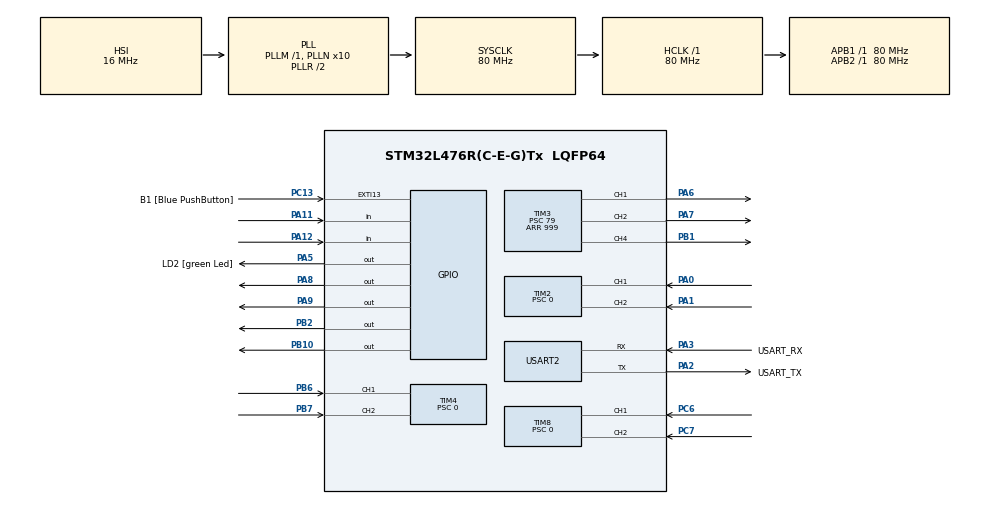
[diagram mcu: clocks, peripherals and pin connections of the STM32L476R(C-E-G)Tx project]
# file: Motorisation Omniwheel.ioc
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Mcu.Family=STM32L4
Mcu.Name=STM32L476R(C-E-G)Tx
Mcu.Package=LQFP64
NVIC.PriorityGroup=NVIC_PRIORITYGROUP_4
NVIC.TIM5_IRQn=true\:0\:0\:false\:false\:true\:true\:true\:true
PA0.Signal=S_TIM2_CH1
PA1.Signal=S_TIM2_CH2
PA11.Signal=GPIO_Input
PA12.Signal=GPIO_Input
PA13\ (JTMS-SWDIO).GPIO_Label=TMS
PA13\ (JTMS-SWDIO).Mode=Serial_Wire
PA13\ (JTMS-SWDIO).Signal=SYS_JTMS-SWDIO
PA14\ (JTCK-SWCLK).GPIO_Label=TCK
PA14\ (JTCK-SWCLK).Mode=Serial_Wire
PA14\ (JTCK-SWCLK).Signal=SYS_JTCK-SWCLK
PA2.GPIO_Label=USART_TX
PA2.GPIO_Mode=GPIO_MODE_AF_PP
PA2.GPIO_PuPd=GPIO_NOPULL
PA2.GPIO_Speed=GPIO_SPEED_FREQ_VERY_HIGH
PA2.Mode=Asynchronous
PA2.Signal=USART2_TX
PA3.GPIO_Label=USART_RX
PA3.GPIO_Mode=GPIO_MODE_AF_PP
PA3.GPIO_PuPd=GPIO_NOPULL
PA3.GPIO_Speed=GPIO_SPEED_FREQ_VERY_HIGH
PA3.Mode=Asynchronous
PA3.Signal=USART2_RX
PA5.GPIO_Label=LD2 [green Led]
PA5.GPIO_ModeDefaultOutputPP=GPIO_MODE_OUTPUT_PP
PA5.GPIO_PuPd=GPIO_NOPULL
PA5.GPIO_Speed=GPIO_SPEED_FREQ_LOW
PA5.Signal=GPIO_Output
PA6.Signal=S_TIM3_CH1
PA7.Signal=S_TIM3_CH2
PA8.Signal=GPIO_Output
PA9.Signal=GPIO_Output
PB1.Signal=S_TIM3_CH4
PB10.Signal=GPIO_Output
PB2.Signal=GPIO_Output
PB3\ (JTDO-TRACESWO).GPIO_Label=SWO
PB3\ (JTDO-TRACESWO).Signal=SYS_JTDO-SWO
PB6.Signal=S_TIM4_CH1
PB7.Signal=S_TIM4_CH2
PC13.GPIO_Label=B1 [Blue PushButton]
PC13.GPIO_ModeDefaultEXTI=GPIO_MODE_IT_FALLING
PC13.GPIO_PuPd=GPIO_NOPULL
PC13.Signal=GPXTI13
PC14-OSC32_IN\ (PC14).Mode=LSE-External-Oscillator
PC14-OSC32_IN\ (PC14).Signal=RCC_OSC32_IN
PC15-OSC32_OUT\ (PC15).Mode=LSE-External-Oscillator
PC15-OSC32_OUT\ (PC15).Signal=RCC_OSC32_OUT
PC6.Signal=S_TIM8_CH1
PC7.Signal=S_TIM8_CH2
PH0-OSC_IN\ (PH0).Mode=HSE-External-Oscillator
PH0-OSC_IN\ (PH0).Signal=RCC_OSC_IN
PH1-OSC_OUT\ (PH1).Mode=HSE-External-Oscillator
PH1-OSC_OUT\ (PH1).Signal=RCC_OSC_OUT
ProjectManager.HeapSize=0x200
ProjectManager.StackSize=0x400
ProjectManager.TargetToolchain=STM32CubeIDE
RCC.ADCFreq_Value=64000000
RCC.AHBFreq_Value=80000000
RCC.APB1Freq_Value=80000000
RCC.APB1TimFreq_Value=80000000
RCC.APB2Freq_Value=80000000
RCC.APB2TimFreq_Value=80000000
RCC.CortexFreq_Value=80000000
RCC.HCLKFreq_Value=80000000
RCC.HSE_VALUE=8000000
RCC.HSI_VALUE=16000000
RCC.MSI_VALUE=4000000
RCC.PLLN=10
RCC.PLLSourceVirtual=RCC_PLLSOURCE_HSI
RCC.PREFETCH_ENABLE=1
RCC.SYSCLKFreq_VALUE=80000000
RCC.SYSCLKSource=RCC_SYSCLKSOURCE_PLLCLK
RCC.USBFreq_Value=64000000
RCC.VCOOutputFreq_Value=160000000
SH.S_TIM2_CH1.0=TIM2_CH1,Encoder_Interface
SH.S_TIM2_CH2.0=TIM2_CH2,Encoder_Interface
SH.S_TIM3_CH1.0=TIM3_CH1,PWM Generation1 CH1
SH.S_TIM3_CH2.0=TIM3_CH2,PWM Generation2 CH2
SH.S_TIM3_CH4.0=TIM3_CH4,PWM Generation4 CH4
SH.S_TIM4_CH1.0=TIM4_CH1,Encoder_Interface
SH.S_TIM4_CH2.0=TIM4_CH2,Encoder_Interface
SH.S_TIM8_CH1.0=TIM8_CH1,Encoder_Interface
SH.S_TIM8_CH2.0=TIM8_CH2,Encoder_Interface
TIM2.AutoReloadPreload=TIM_AUTORELOAD_PRELOAD_ENABLE
TIM2.CounterMode=TIM_COUNTERMODE_UP
TIM2.EncoderMode=TIM_ENCODERMODE_TI12
TIM2.IC1Filter=0
TIM2.IC1Polarity=TIM_ICPOLARITY_FALLING
TIM2.IC2Filter=0
TIM2.IC2Polarity=TIM_ICPOLARITY_FALLING
TIM2.Period=65535
TIM2.Prescaler=0
TIM3.Channel-PWM\ Generation1\ CH1=TIM_CHANNEL_1
TIM3.Channel-PWM\ Generation2\ CH2=TIM_CHANNEL_2
TIM3.Channel-PWM\ Generation4\ CH4=TIM_CHANNEL_4
TIM3.Period=999
TIM3.Prescaler=79
TIM4.AutoReloadPreload=TIM_AUTORELOAD_PRELOAD_ENABLE
TIM4.CounterMode=TIM_COUNTERMODE_UP
TIM4.EncoderMode=TIM_ENCODERMODE_TI12
TIM4.IC1Filter=5
TIM4.IC1Polarity=TIM_ICPOLARITY_FALLING
TIM4.IC2Filter=5
TIM4.IC2Polarity=TIM_ICPOLARITY_FALLING
TIM4.Prescaler=0
TIM5.Period=999
TIM5.Prescaler=799
TIM8.CounterMode=TIM_COUNTERMODE_UP
TIM8.EncoderMode=TIM_ENCODERMODE_TI12
TIM8.IC1Filter=0
TIM8.IC1Polarity=TIM_ICPOLARITY_FALLING
TIM8.IC2Polarity=TIM_ICPOLARITY_FALLING
TIM8.Prescaler=0
USART2.VirtualMode-Asynchronous=VM_ASYNC
VP_TIM5_VS_ClockSourceINT.Mode=Internal
board=NUCLEO-L476RG

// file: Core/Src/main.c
/* USER CODE BEGIN Header */
/**
  ******************************************************************************
  * @file           : main.c
  * @brief          : Main program body
  ******************************************************************************
  * @attention
  *
  * Copyright (c) 2023 STMicroelectronics.
  * All rights reserved.
  *
  * This software is licensed under terms that can be found in the LICENSE file
  * in the root directory of this software component.
  * If no LICENSE file comes with this software, it is provided AS-IS.
  *
  * Every distances is in millimeter
  ******************************************************************************
  */
/* USER CODE END Header */
#include "main.h"

/* USER CODE BEGIN Includes */
#include "stdio.h"
#include "string.h"
#include "math.h"
#include "stdbool.h"
/* USER CODE END Includes */

/* USER CODE BEGIN PD */
#define M_PI  3.14159265358979323846
#define VMAX_MOTEUR 251 //tr/min
#define VMAX_USER 200 //tr/min
#define PWM_USER_MAX 1
#define TIM3_COUNTER_PERIOD 999
#define PPR 5760 // Pulse per rotation for motor encoder
#define TIRE_RADIUS 29 //mm
#define ROBOT_RADIUS 115 //mm
/* USER CODE END PD */

TIM_HandleTypeDef htim2;
TIM_HandleTypeDef htim3;
TIM_HandleTypeDef htim4;
TIM_HandleTypeDef htim5;
TIM_HandleTypeDef htim8;

UART_HandleTypeDef huart2;

/* USER CODE BEGIN PV */
uint8_t first_time;
int dist1, dist2, dist3;//Déclaré ici comme variable globale pour l'utiliser dans 2 fonctions
int positionExecution = 0;

/* USER CODE END PV */

void SystemClock_Config(void);
static void MX_GPIO_Init(void);
static void MX_USART2_UART_Init(void);
static void MX_TIM3_Init(void);
static void MX_TIM2_Init(void);
static void MX_TIM4_Init(void);
static void MX_TIM8_Init(void);
static void MX_TIM5_Init(void);
/* USER CODE BEGIN PFP */
void MoveStraight(float PWM, float distance, float angle);
void Rotation(float PWM, float angle, bool direction);
void MoveAndRotate (float PWM_Move, float distance_move, float angle_move, float angle_rotation, bool direction_rotation);
void StopRobot();
void update_encoder(encoder_instance *encoder_value, TIM_HandleTypeDef *htim);
void HAL_TIM_PeriodElapsedCallback(TIM_HandleTypeDef *htim);
void ResetEncoder();
float TempsDeplacement(float PWM_Move,float distance_move);
float VRotationComposedMove(float PWM_Move,float distance_move, float angle_rotation, bool direction_rotation);

/* USER CODE END PFP */

int main(void)
{

  /* MCU Configuration--------------------------------------------------------*/

  /* Reset of all peripherals, Initializes the Flash interface and the Systick. */
  HAL_Init();

  /* Configure the system clock */
  SystemClock_Config();

  /* Initialize all configured peripherals */
  MX_GPIO_Init();
  MX_USART2_UART_Init();
  MX_TIM3_Init();
  MX_TIM2_Init();
  MX_TIM4_Init();
  MX_TIM8_Init();
  MX_TIM5_Init();
  /* USER CODE BEGIN 2 */
  //HAL_TIM_Base_Start_IT(&htim3); //start timer => work alone
  HAL_TIM_PWM_Start(&htim3,TIM_CHANNEL_2); //Démarre le PWM avec la config du timer 3, sur le pin CH2
  HAL_TIM_PWM_Start(&htim3,TIM_CHANNEL_1); //Démarre le PWM avec la config du timer 3, sur le pin CH1
  HAL_TIM_PWM_Start(&htim3,TIM_CHANNEL_4); //Démarre le PWM avec la config du timer 3, sur le pin CH4
  HAL_TIM_Base_Start(&htim4);
  HAL_TIM_Base_Start(&htim8);
  HAL_TIM_Base_Start(&htim2);
  //HAL_TIM_Base_Start(&htim5);
  HAL_TIM_Base_Start_IT(&htim5);
  /* USER CODE END 2 */

  /* Infinite loop */
  while (1)
  {

  }
}

void SystemClock_Config(void)
{
  RCC_OscInitTypeDef RCC_OscInitStruct = {0};
  RCC_ClkInitTypeDef RCC_ClkInitStruct = {0};

  /** Configure the main internal regulator output voltage
  */
  if (HAL_PWREx_ControlVoltageScaling(PWR_REGULATOR_VOLTAGE_SCALE1) != HAL_OK)
  {
    Error_Handler();
  }

  /** Initializes the RCC Oscillators according to the specified parameters
  * in the RCC_OscInitTypeDef structure.
  */
  RCC_OscInitStruct.OscillatorType = RCC_OSCILLATORTYPE_HSI;
  RCC_OscInitStruct.HSIState = RCC_HSI_ON;
  RCC_OscInitStruct.HSICalibrationValue = RCC_HSICALIBRATION_DEFAULT;
  RCC_OscInitStruct.PLL.PLLState = RCC_PLL_ON;
  RCC_OscInitStruct.PLL.PLLSource = RCC_PLLSOURCE_HSI;
  RCC_OscInitStruct.PLL.PLLM = 1;
  RCC_OscInitStruct.PLL.PLLN = 10;
  RCC_OscInitStruct.PLL.PLLP = RCC_PLLP_DIV7;
  RCC_OscInitStruct.PLL.PLLQ = RCC_PLLQ_DIV2;
  RCC_OscInitStruct.PLL.PLLR = RCC_PLLR_DIV2;
  if (HAL_RCC_OscConfig(&RCC_OscInitStruct) != HAL_OK)
  {
    Error_Handler();
  }

  /** Initializes the CPU, AHB and APB buses clocks
  */
  RCC_ClkInitStruct.ClockType = RCC_CLOCKTYPE_HCLK|RCC_CLOCKTYPE_SYSCLK
                              |RCC_CLOCKTYPE_PCLK1|RCC_CLOCKTYPE_PCLK2;
  RCC_ClkInitStruct.SYSCLKSource = RCC_SYSCLKSOURCE_PLLCLK;
  RCC_ClkInitStruct.AHBCLKDivider = RCC_SYSCLK_DIV1;
  RCC_ClkInitStruct.APB1CLKDivider = RCC_HCLK_DIV1;
  RCC_ClkInitStruct.APB2CLKDivider = RCC_HCLK_DIV1;

  if (HAL_RCC_ClockConfig(&RCC_ClkInitStruct, FLASH_LATENCY_4) != HAL_OK)
  {
    Error_Handler();
  }
}

static void MX_TIM2_Init(void)
{

  TIM_Encoder_InitTypeDef sConfig = {0};
  TIM_MasterConfigTypeDef sMasterConfig = {0};

  htim2.Instance = TIM2;
  htim2.Init.Prescaler = 0;
  htim2.Init.CounterMode = TIM_COUNTERMODE_UP;
  htim2.Init.Period = 65535;
  htim2.Init.ClockDivision = TIM_CLOCKDIVISION_DIV1;
  htim2.Init.AutoReloadPreload = TIM_AUTORELOAD_PRELOAD_ENABLE;
  sConfig.EncoderMode = TIM_ENCODERMODE_TI12;
  sConfig.IC1Polarity = TIM_ICPOLARITY_FALLING;
  sConfig.IC1Selection = TIM_ICSELECTION_DIRECTTI;
  sConfig.IC1Prescaler = TIM_ICPSC_DIV1;
  sConfig.IC1Filter = 0;
  sConfig.IC2Polarity = TIM_ICPOLARITY_FALLING;
  sConfig.IC2Selection = TIM_ICSELECTION_DIRECTTI;
  sConfig.IC2Prescaler = TIM_ICPSC_DIV1;
  sConfig.IC2Filter = 0;
  if (HAL_TIM_Encoder_Init(&htim2, &sConfig) != HAL_OK)
  {
    Error_Handler();
  }
  sMasterConfig.MasterOutputTrigger = TIM_TRGO_RESET;
  sMasterConfig.MasterSlaveMode = TIM_MASTERSLAVEMODE_DISABLE;
  if (HAL_TIMEx_MasterConfigSynchronization(&htim2, &sMasterConfig) != HAL_OK)
  {
    Error_Handler();
  }

}

static void MX_TIM3_Init(void)
{

  TIM_MasterConfigTypeDef sMasterConfig = {0};
  TIM_OC_InitTypeDef sConfigOC = {0};

  htim3.Instance = TIM3;
  htim3.Init.Prescaler = 79;
  htim3.Init.CounterMode = TIM_COUNTERMODE_UP;
  htim3.Init.Period = 999;
  htim3.Init.ClockDivision = TIM_CLOCKDIVISION_DIV1;
  htim3.Init.AutoReloadPreload = TIM_AUTORELOAD_PRELOAD_DISABLE;
  if (HAL_TIM_PWM_Init(&htim3) != HAL_OK)
  {
    Error_Handler();
  }
  sMasterConfig.MasterOutputTrigger = TIM_TRGO_RESET;
  sMasterConfig.MasterSlaveMode = TIM_MASTERSLAVEMODE_DISABLE;
  if (HAL_TIMEx_MasterConfigSynchronization(&htim3, &sMasterConfig) != HAL_OK)
  {
    Error_Handler();
  }
  sConfigOC.OCMode = TIM_OCMODE_PWM1;
  sConfigOC.Pulse = 0;
  sConfigOC.OCPolarity = TIM_OCPOLARITY_HIGH;
  sConfigOC.OCFastMode = TIM_OCFAST_DISABLE;
  if (HAL_TIM_PWM_ConfigChannel(&htim3, &sConfigOC, TIM_CHANNEL_1) != HAL_OK)
  {
    Error_Handler();
  }
  if (HAL_TIM_PWM_ConfigChannel(&htim3, &sConfigOC, TIM_CHANNEL_2) != HAL_OK)
  {
    Error_Handler();
  }
  if (HAL_TIM_PWM_ConfigChannel(&htim3, &sConfigOC, TIM_CHANNEL_4) != HAL_OK)
  {
    Error_Handler();
  }
  HAL_TIM_MspPostInit(&htim3);

}

static void MX_TIM4_Init(void)
{

  TIM_Encoder_InitTypeDef sConfig = {0};
  TIM_MasterConfigTypeDef sMasterConfig = {0};

  htim4.Instance = TIM4;
  htim4.Init.Prescaler = 0;
  htim4.Init.CounterMode = TIM_COUNTERMODE_UP;
  htim4.Init.Period = 65535;
  htim4.Init.ClockDivision = TIM_CLOCKDIVISION_DIV1;
  htim4.Init.AutoReloadPreload = TIM_AUTORELOAD_PRELOAD_ENABLE;
  sConfig.EncoderMode = TIM_ENCODERMODE_TI12;
  sConfig.IC1Polarity = TIM_ICPOLARITY_FALLING;
  sConfig.IC1Selection = TIM_ICSELECTION_DIRECTTI;
  sConfig.IC1Prescaler = TIM_ICPSC_DIV1;
  sConfig.IC1Filter = 5;
  sConfig.IC2Polarity = TIM_ICPOLARITY_FALLING;
  sConfig.IC2Selection = TIM_ICSELECTION_DIRECTTI;
  sConfig.IC2Prescaler = TIM_ICPSC_DIV1;
  sConfig.IC2Filter = 5;
  if (HAL_TIM_Encoder_Init(&htim4, &sConfig) != HAL_OK)
  {
    Error_Handler();
  }
  sMasterConfig.MasterOutputTrigger = TIM_TRGO_RESET;
  sMasterConfig.MasterSlaveMode = TIM_MASTERSLAVEMODE_DISABLE;
  if (HAL_TIMEx_MasterConfigSynchronization(&htim4, &sMasterConfig) != HAL_OK)
  {
    Error_Handler();
  }

}

static void MX_TIM5_Init(void)
{

  TIM_ClockConfigTypeDef sClockSourceConfig = {0};
  TIM_MasterConfigTypeDef sMasterConfig = {0};

  htim5.Instance = TIM5;
  htim5.Init.Prescaler = 799;
  htim5.Init.CounterMode = TIM_COUNTERMODE_UP;
  htim5.Init.Period = 999;
  htim5.Init.ClockDivision = TIM_CLOCKDIVISION_DIV1;
  htim5.Init.AutoReloadPreload = TIM_AUTORELOAD_PRELOAD_DISABLE;
  if (HAL_TIM_Base_Init(&htim5) != HAL_OK)
  {
    Error_Handler();
  }
  sClockSourceConfig.ClockSource = TIM_CLOCKSOURCE_INTERNAL;
  if (HAL_TIM_ConfigClockSource(&htim5, &sClockSourceConfig) != HAL_OK)
  {
    Error_Handler();
  }
  sMasterConfig.MasterOutputTrigger = TIM_TRGO_RESET;
  sMasterConfig.MasterSlaveMode = TIM_MASTERSLAVEMODE_DISABLE;
  if (HAL_TIMEx_MasterConfigSynchronization(&htim5, &sMasterConfig) != HAL_OK)
  {
    Error_Handler();
  }

}

static void MX_TIM8_Init(void)
{

  TIM_Encoder_InitTypeDef sConfig = {0};
  TIM_MasterConfigTypeDef sMasterConfig = {0};

  htim8.Instance = TIM8;
  htim8.Init.Prescaler = 0;
  htim8.Init.CounterMode = TIM_COUNTERMODE_UP;
  htim8.Init.Period = 65535;
  htim8.Init.ClockDivision = TIM_CLOCKDIVISION_DIV1;
  htim8.Init.RepetitionCounter = 0;
  htim8.Init.AutoReloadPreload = TIM_AUTORELOAD_PRELOAD_DISABLE;
  sConfig.EncoderMode = TIM_ENCODERMODE_TI12;
  sConfig.IC1Polarity = TIM_ICPOLARITY_FALLING;
  sConfig.IC1Selection = TIM_ICSELECTION_DIRECTTI;
  sConfig.IC1Prescaler = TIM_ICPSC_DIV1;
  sConfig.IC1Filter = 0;
  sConfig.IC2Polarity = TIM_ICPOLARITY_FALLING;
  sConfig.IC2Selection = TIM_ICSELECTION_DIRECTTI;
  sConfig.IC2Prescaler = TIM_ICPSC_DIV1;
  sConfig.IC2Filter = 0;
  if (HAL_TIM_Encoder_Init(&htim8, &sConfig) != HAL_OK)
  {
    Error_Handler();
  }
  sMasterConfig.MasterOutputTrigger = TIM_TRGO_RESET;
  sMasterConfig.MasterOutputTrigger2 = TIM_TRGO2_RESET;
  sMasterConfig.MasterSlaveMode = TIM_MASTERSLAVEMODE_DISABLE;
  if (HAL_TIMEx_MasterConfigSynchronization(&htim8, &sMasterConfig) != HAL_OK)
  {
    Error_Handler();
  }

}

static void MX_USART2_UART_Init(void)
{

  huart2.Instance = USART2;
  huart2.Init.BaudRate = 115200;
  huart2.Init.WordLength = UART_WORDLENGTH_8B;
  huart2.Init.StopBits = UART_STOPBITS_1;
  huart2.Init.Parity = UART_PARITY_NONE;
  huart2.Init.Mode = UART_MODE_TX_RX;
  huart2.Init.HwFlowCtl = UART_HWCONTROL_NONE;
  huart2.Init.OverSampling = UART_OVERSAMPLING_16;
  huart2.Init.OneBitSampling = UART_ONE_BIT_SAMPLE_DISABLE;
  huart2.AdvancedInit.AdvFeatureInit = UART_ADVFEATURE_NO_INIT;
  if (HAL_UART_Init(&huart2) != HAL_OK)
  {
    Error_Handler();
  }

}

static void MX_GPIO_Init(void)
{
  GPIO_InitTypeDef GPIO_InitStruct = {0};

  /* GPIO Ports Clock Enable */
  __HAL_RCC_GPIOC_CLK_ENABLE();
  __HAL_RCC_GPIOH_CLK_ENABLE();
  __HAL_RCC_GPIOA_CLK_ENABLE();
  __HAL_RCC_GPIOB_CLK_ENABLE();

  /*Configure GPIO pin Output Level */
  HAL_GPIO_WritePin(GPIOA, LD2_Pin|GPIO_PIN_8|GPIO_PIN_9, GPIO_PIN_RESET);

  /*Configure GPIO pin Output Level */
  HAL_GPIO_WritePin(GPIOB, GPIO_PIN_2|GPIO_PIN_10, GPIO_PIN_RESET);

  /*Configure GPIO pin : B1_Pin */
  GPIO_InitStruct.Pin = B1_Pin;
  GPIO_InitStruct.Mode = GPIO_MODE_IT_FALLING;
  GPIO_InitStruct.Pull = GPIO_NOPULL;
  HAL_GPIO_Init(B1_GPIO_Port, &GPIO_InitStruct);

  /*Configure GPIO pins : LD2_Pin PA8 PA9 */
  GPIO_InitStruct.Pin = LD2_Pin|GPIO_PIN_8|GPIO_PIN_9;
  GPIO_InitStruct.Mode = GPIO_MODE_OUTPUT_PP;
  GPIO_InitStruct.Pull = GPIO_NOPULL;
  GPIO_InitStruct.Speed = GPIO_SPEED_FREQ_LOW;
  HAL_GPIO_Init(GPIOA, &GPIO_InitStruct);

  /*Configure GPIO pins : PB2 PB10 */
  GPIO_InitStruct.Pin = GPIO_PIN_2|GPIO_PIN_10;
  GPIO_InitStruct.Mode = GPIO_MODE_OUTPUT_PP;
  GPIO_InitStruct.Pull = GPIO_NOPULL;
  GPIO_InitStruct.Speed = GPIO_SPEED_FREQ_LOW;
  HAL_GPIO_Init(GPIOB, &GPIO_InitStruct);

  /*Configure GPIO pins : PA11 PA12 */
  GPIO_InitStruct.Pin = GPIO_PIN_11|GPIO_PIN_12;
  GPIO_InitStruct.Mode = GPIO_MODE_INPUT;
  GPIO_InitStruct.Pull = GPIO_NOPULL;
  HAL_GPIO_Init(GPIOA, &GPIO_InitStruct);

}

/* USER CODE BEGIN 4 */
void MoveStraight(float PWM, float distance, float angle)
//Lorsque dir = 0, le moteur tourne en horlogique
//Si tous les moteur en dir = 0, le robot tourne en horlogique
//angle à prendre en sens trigo !
{
	float PWM_MOTEUR[3];
	int i;
	int dir[3];

	PWM_MOTEUR[0] = PWM*sin((angle-60)*M_PI/180);
	PWM_MOTEUR[1] = PWM*sin((angle-180)*M_PI/180);
	PWM_MOTEUR[2] = PWM*sin((angle-300)*M_PI/180);

	dist1 = -distance*sin((angle-60)*M_PI/180);
	dist2 = -distance*sin((angle-180)*M_PI/180);
	dist3 = -distance*sin((angle-300)*M_PI/180);

	for(i=0;i<3;i++)
	{
		if (PWM_MOTEUR[i] > 0)
		{
			dir[i] = 1;
		}
		else
		{
			dir[i] = 0;
			PWM_MOTEUR[i] = - PWM_MOTEUR[i];

		}
	}

	TIM3->CCR2 = (PWM_MOTEUR[0])*PWM_USER_MAX*(TIM3_COUNTER_PERIOD + 1); // output PWM1 : D11
	TIM3->CCR1 = (PWM_MOTEUR[1])*PWM_USER_MAX*(TIM3_COUNTER_PERIOD + 1); // output PWM2 : D12
	TIM3->CCR4 = (PWM_MOTEUR[2])*PWM_USER_MAX*(TIM3_COUNTER_PERIOD + 1); // output PWM3 : PB1

	HAL_GPIO_WritePin(GPIOA, GPIO_PIN_8, dir[0]); // output for DIR motor 1 : D7
	HAL_GPIO_WritePin(GPIOA, GPIO_PIN_9, dir[1]); // output for DIR motor 2 : D8
	HAL_GPIO_WritePin(GPIOB, GPIO_PIN_10, dir[2]); // output for DIR motor 3 : D6

}

void Rotation(float PWM, float angle, bool direction)
//direction : 1 si trigo, 0 si horlogique
//angle en degré
//La mesure de distance parcourue se fait dans une interruption
{

	TIM3->CCR2 = PWM*PWM_USER_MAX*(TIM3_COUNTER_PERIOD + 1); // output for DIR motor 1 : D7
	TIM3->CCR1 = PWM*PWM_USER_MAX*(TIM3_COUNTER_PERIOD + 1); // output for DIR motor 2 : D8
	TIM3->CCR4 = PWM*PWM_USER_MAX*(TIM3_COUNTER_PERIOD + 1); // output for DIR motor 3 : D6

	HAL_GPIO_WritePin(GPIOA, GPIO_PIN_8, direction); // output for DIR motor 1 : D7
	HAL_GPIO_WritePin(GPIOA, GPIO_PIN_9, direction); // output for DIR motor 2 : D8
	HAL_GPIO_WritePin(GPIOB, GPIO_PIN_10, direction); // output for DIR motor 3 :D6

	dist1 = ROBOT_RADIUS*angle*M_PI/180; // dist = distance parcourue par une roue
	dist2 = dist1;
	dist3 = dist1;

}

<<<<<<< HEAD
void MoveAndRotate (float PWM_Move, float distance_move, float angle_move, float angle_rotation, bool direction_rotation)
{
	float PWM_MOTEUR[3];
	int i;
	int dir[3];
	float PWMrotation;

	PWMrotation = VRotationComposedMove(PWM_Move,distance_move,angle_rotation,direction_rotation);

	PWM_MOTEUR[0] = PWM_Move*sin((angle_move-60)*M_PI/180)+PWMrotation;
	PWM_MOTEUR[1] = PWM_Move*sin((angle_move-180)*M_PI/180)+PWMrotation;
	PWM_MOTEUR[2] = PWM_Move*sin((angle_move-300)*M_PI/180)+PWMrotation;

	for(i=0;i<3;i++)
	{
		if (PWM_MOTEUR[i] > 0)
		{
			dir[i] = 1;
		}
		else
		{
			dir[i] = 0;
			PWM_MOTEUR[i] = - PWM_MOTEUR[i];

		}
	}

	TIM3->CCR2 = PWM_MOTEUR[0]*PWM_USER_MAX*(TIM3_COUNTER_PERIOD + 1); // output for DIR motor 1 : D7
	TIM3->CCR1 = PWM_MOTEUR[1]*PWM_USER_MAX*(TIM3_COUNTER_PERIOD + 1); // output for DIR motor 2 : D8
	TIM3->CCR4 = PWM_MOTEUR[2]*PWM_USER_MAX*(TIM3_COUNTER_PERIOD + 1); // output for DIR motor 3 : D6

	HAL_GPIO_WritePin(GPIOA, GPIO_PIN_8, dir[0]); // output for DIR motor 1 : D7
	HAL_GPIO_WritePin(GPIOA, GPIO_PIN_9, dir[1]); // output for DIR motor 2 : D8
	HAL_GPIO_WritePin(GPIOB, GPIO_PIN_10, dir[2]); // output for DIR motor 3 :D6

	dist1 = -distance_move*sin((angle_move-60)*M_PI/180) + ROBOT_RADIUS*angle_rotation*M_PI/180;
	dist2 = -distance_move*sin((angle_move-180)*M_PI/180) + ROBOT_RADIUS*angle_rotation*M_PI/180;
	dist3 = -distance_move*sin((angle_move-300)*M_PI/180) + ROBOT_RADIUS*angle_rotation*M_PI/180;
}

float TempsDeplacement(float PWM_Move,float distance_move)
{
	float temps;
	temps = distance_move/(PWM_Move*VMAX_MOTEUR*TIRE_RADIUS*2*M_PI/60);
	return temps;
}

float VRotationComposedMove(float PWM_Move,float distance_move, float angle_rotation, bool direction_rotation)
{
	float PWMrotation, Vrotation, temps, distance_rotation;
	temps = TempsDeplacement(PWM_Move,distance_move);
	distance_rotation = ROBOT_RADIUS*angle_rotation*M_PI/180;
	Vrotation = distance_rotation / temps *60 / TIRE_RADIUS;
	PWMrotation = Vrotation/VMAX_USER;
	if(direction_rotation==0)
		PWMrotation = -PWMrotation;
	return PWMrotation;
}

void HAL_TIM_PeriodElapsedCallback(TIM_HandleTypeDef *htim)//fonction intervient à chaque fois qu'on a un interrupt timer
{//C'est ça qu'il faut modifier et on sera bon pour micro
	HAL_GPIO_TogglePin(LD2_GPIO_Port, LD2_Pin);
	int x1 = 0, x2 = 0, x3 = 0;
	encoder_instance encoder_value1, encoder_value2, encoder_value3;

	update_encoder(&encoder_value1, &htim4);
	update_encoder(&encoder_value2, &htim8);
	update_encoder(&encoder_value3, &htim2);

	int position1 = encoder_value1.position;
	//int velocity1 = encoder_value1.velocity;
	int position2 = encoder_value2.position;
	//int velocity2 = encoder_value2.velocity;
	int position3 = encoder_value3.position;
	//int velocity3 = encoder_value3.velocity;

	x1 = TIRE_RADIUS*2*M_PI*position1/PPR/2;
	x2 = TIRE_RADIUS*2*M_PI*position2/PPR/2;
	x3 = TIRE_RADIUS*2*M_PI*position3/PPR/2;

	if((fabs(x1) >= fabs(dist1) && fabs(x2) >= fabs(dist2) && fabs(x3) >= fabs(dist3)) || positionExecution==0) //pas sûr de la condition
	{
		positionExecution += 1;
		first_time = 0;
		switch(positionExecution)
		{

		case 1:
			//Rotation(1, 30, 0);
			//Rotation(0.5, 20, 1);
			MoveAndRotate (0.4, 100, 0, 90, 1);
			//HAL_Delay(1000);
			 	 break;

		case 2:
			MoveStraight(0.3, 100, 90);
			//HAL_Delay(1000);
				 break;

		case 3:
			MoveStraight(0.3, 100, 180);
			//HAL_Delay(1000);
				 break;

		case 4:
			MoveStraight(0.3, 100, 270);
			//HAL_Delay(1000);
				 break;

		case 5:
			Rotation (0.3, 50,0);
				break;

		case 6:
			Rotation (1,50,1);
				break;

		case 7:
			MoveStraight(1, 100, 90);
			//HAL_Delay(1000);
				break;

		case 8:
			MoveStraight(1, 100, 0);
			//HAL_Delay(1000);
				 break;

		case 9:
			MoveStraight(1, 100, 270);
			//HAL_Delay(1000);
				 break;

		case 10:
			MoveStraight(1, 100, 180);
			//HAL_Delay(1000);
				 break;

		case 11:
			MoveStraight (1,67,45);
				break;

		case 12:
			//Rotation(1, 30, 0);
			//Rotation(0.5, 20, 1);
			MoveStraight(1, 100, 45);
			//HAL_Delay(1000);
			 	 break;

		case 13:
			MoveStraight(1, 100, 135);
			//HAL_Delay(1000);
				 break;

		case 14:
			MoveStraight(1, 100, 225);
			//HAL_Delay(1000);
				 break;

		case 15:
			MoveStraight(1, 100, 315);
			//HAL_Delay(1000);
				 break;

		case 16:
			StopRobot();
			//HAL_Delay(1000);
				 break;

		}
	}
	return;
}

=======
>>>>>>> branch 'master' of https://github.com/Benjam181/eurobot
void StopRobot()
{
	TIM3->CCR2 = 0;
	TIM3->CCR1 = 0;
	TIM3->CCR4 = 0;
	first_time = 0; //Pour pouvoir réinitialiser toutes les données des encodeurs
}

void ResetEncoder()
{
	__HAL_TIM_SET_COUNTER(&htim4, 0);
	__HAL_TIM_SET_COUNTER(&htim8, 0);
	__HAL_TIM_SET_COUNTER(&htim2, 0);
	first_time = 0; //Pour pouvoir réinitialiser toutes les données des encodeurs

}

void update_encoder(encoder_instance *encoder_value, TIM_HandleTypeDef *htim)
 {
	// On a pas besoin de diviser par la période du comtpeur car elle est déjà à 1 sec ??
	uint32_t temp_counter = __HAL_TIM_GET_COUNTER(htim);

	if(first_time < 3)// Variable static : s'incrémente à chaque appel de la fonction. Une fois la variable plus grand que 2, on ne s'en sert plus.
	{
	   encoder_value ->velocity = 0;
	   encoder_value->position = 0;
	   encoder_value->last_counter_value = 0;
	   first_time += 1;
	}
	else
	{
	  if(temp_counter == encoder_value ->last_counter_value) // Si le compteur est au même endroit que la dernière fois, c'est que le moteur n'a pas tourné.
	  {
		encoder_value ->velocity = 0;
	  }
	  else if(temp_counter > encoder_value ->last_counter_value) // Si le compteur est plus élevé que la dernière fois,
	  {
		if (__HAL_TIM_IS_TIM_COUNTING_DOWN(htim)) // Si le compteur descend, (roue dans le sens horlo), on a un overflow du compteur !
		{
		  encoder_value ->velocity = -encoder_value ->last_counter_value -
		(__HAL_TIM_GET_AUTORELOAD(htim)-temp_counter);
		}
		else // SI le compteur monte, (roue dans le sens trigo)
		{
		  encoder_value ->velocity = temp_counter -
			   encoder_value ->last_counter_value;
		}
	  }
	  else // Si compteur est plus faible que la dernière fois,
	  {
		if (__HAL_TIM_IS_TIM_COUNTING_DOWN(htim)) // Si compteur descend, (roue dans le sens horlo),
		{
		encoder_value ->velocity = temp_counter -
				encoder_value ->last_counter_value;
		}
		else // SI le compteur monte, (roue dans le sens trigo), on a un overflow !
		{
		encoder_value ->velocity = temp_counter +
		(__HAL_TIM_GET_AUTORELOAD(htim) -
				  encoder_value ->last_counter_value);
		}
	   }
	}
	encoder_value ->position += encoder_value ->velocity;
	encoder_value ->last_counter_value = temp_counter;

}

void HAL_TIM_PeriodElapsedCallback(TIM_HandleTypeDef *htim)//fonction intervient à chaque fois qu'on a un interrupt timer
{//C'est ça qu'il faut modifier et on sera bon pour micro
	HAL_GPIO_TogglePin(LD2_GPIO_Port, LD2_Pin);
	int x1 = 0, x2 = 0, x3 = 0;
	encoder_instance encoder_value1, encoder_value2, encoder_value3;

	update_encoder(&encoder_value1, &htim4);
	update_encoder(&encoder_value2, &htim8);
	update_encoder(&encoder_value3, &htim2);

	int position1 = encoder_value1.position;
	//int velocity1 = encoder_value1.velocity;
	int position2 = encoder_value2.position;
	//int velocity2 = encoder_value2.velocity;
	int position3 = encoder_value3.position;
	//int velocity3 = encoder_value3.velocity;

	x1 = TIRE_RADIUS*2*M_PI*position1/PPR;
	x2 = TIRE_RADIUS*2*M_PI*position2/PPR;
	x3 = TIRE_RADIUS*2*M_PI*position3/PPR;

	if((fabs(x1) >= fabs(dist1) && fabs(x2) >= fabs(dist2) && fabs(x3) >= fabs(dist3)) || positionExecution==0) //pas sûr de la condition
	{
		positionExecution += 1;
		first_time = 0;
		switch(positionExecution)
		{

		case 1:
			MoveStraight(0.3, 300, 0);
			//HAL_Delay(1000);
			 	 break;

		case 2:
			MoveStraight(0.3, 300, 90);
			//HAL_Delay(1000);
				 break;

		case 3:
			MoveStraight(0.3, 300, 180);
			//HAL_Delay(1000);
				 break;

		case 4:
			MoveStraight(0.3, 300, 270);
			//HAL_Delay(1000);
				 break;

		case 5:
			Rotation (0.3, 50,0);
				break;

		case 6:
			Rotation (1,50,1);
				break;

		case 7:
			MoveStraight(1, 300, 90);
			//HAL_Delay(1000);
				break;

		case 8:
			MoveStraight(1, 300, 0);
			//HAL_Delay(1000);
				 break;

		case 9:
			MoveStraight(1, 300, 270);
			//HAL_Delay(1000);
				 break;

		case 10:
			MoveStraight(1, 300, 180);
			//HAL_Delay(1000);
				 break;

		case 11:
			MoveStraight (1,182,135);

				break;

		case 12:
			MoveStraight(1, 300, 45);
			//HAL_Delay(1000);
			 	 break;

		case 13:
			MoveStraight(1, 300, 135);
			//HAL_Delay(1000);
				 break;

		case 14:
			MoveStraight(1, 300, 225);
			//HAL_Delay(1000);
				 break;

		case 15:
			MoveStraight(1, 300, 315);
			//HAL_Delay(1000);
				 break;

		case 16:
			StopRobot();
			//HAL_Delay(1000);
				 break;

		}
	}
	return;
}
/* USER CODE END 4 */

void Error_Handler(void)
{
  __disable_irq();
  while (1)
  {
  }
}
